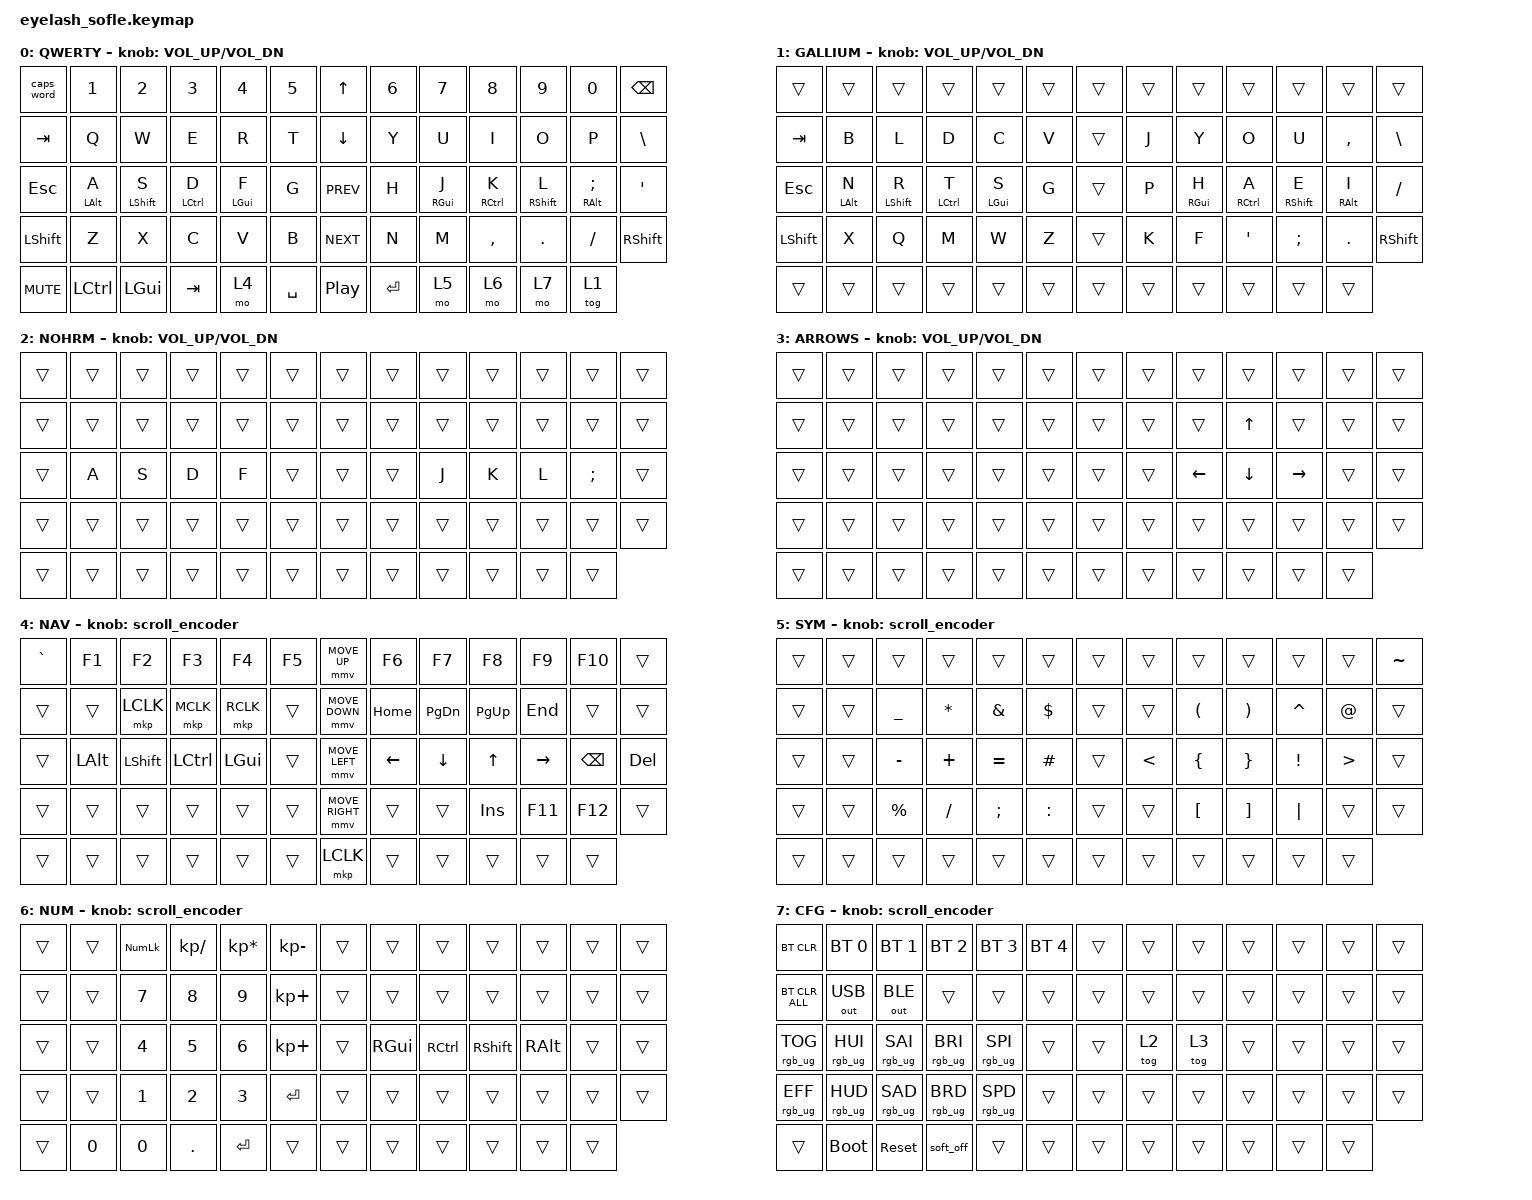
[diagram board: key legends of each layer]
#define ZMK_POINTING_DEFAULT_MOVE_VAL 1200  // 600
#define ZMK_POINTING_DEFAULT_SCRL_VAL 25   // 10

#include <input/processors.dtsi>
#include <zephyr/dt-bindings/input/input-event-codes.h>
#include <behaviors.dtsi>
#include <dt-bindings/zmk/bt.h>
#include <dt-bindings/zmk/ext_power.h>
#include <dt-bindings/zmk/keys.h>
#include <dt-bindings/zmk/pointing.h>
#include <dt-bindings/zmk/rgb.h>
#include <dt-bindings/zmk/outputs.h>

&mmv_input_listener { input-processors = <&zip_xy_scaler 2 1>; };

&msc_input_listener { input-processors = <&zip_scroll_scaler 2 1>; };

&msc {
    acceleration-exponent = <1>;      // 0
    time-to-max-speed-ms = <100>;       // 300
    delay-ms = <0>;                   // 0
};

&mmv {
    time-to-max-speed-ms = <500>;
    acceleration-exponent = <1>;
    trigger-period-ms = <16>;
};

&caps_word {
    continue-list = <UNDERSCORE MINUS>;
};

/ {

    scroll_encoder: scroll_encoder {
        compatible = "zmk,behavior-sensor-rotate";
        #sensor-binding-cells = <0>;
        bindings = <&msc SCRL_DOWN>, <&msc SCRL_UP>;
        tap-ms = <100>;
    };

    behaviors {
        hml: home_row_mod_left {
            compatible = "zmk,behavior-hold-tap";
            #binding-cells = <2>;
            flavor = "balanced";
            require-prior-idle-ms = <150>;
            tapping-term-ms = <280>;
            quick-tap-ms = <175>;
            bindings = <&kp>, <&kp>;
        };
        hmr: home_row_mod_right {
            compatible = "zmk,behavior-hold-tap";
            #binding-cells = <2>;
            flavor = "balanced";
            require-prior-idle-ms = <150>;
            tapping-term-ms = <280>;
            quick-tap-ms = <175>;
            bindings = <&kp>, <&kp>;
        };
    };

    keymap {
        compatible = "zmk,keymap";

        default {
            display-name = "QWERTY";
            bindings = <
&caps_word  &kp N1       &kp N2          &kp N3          &kp N4        &kp N5       &kp UP_ARROW     &kp N6     &kp N7       &kp N8         &kp N9           &kp N0       &kp BACKSPACE
&kp TAB     &kp Q        &kp W           &kp E           &kp R         &kp T        &kp DOWN_ARROW   &kp Y      &kp U        &kp I          &kp O            &kp P        &kp BSLH
&kp ESC     &hml LALT A  &hml LSHFT S    &hml LCTRL D    &hml LGUI F   &kp G        &kp C_PREV       &kp H      &hmr RGUI J  &hmr RCTRL K   &hmr RSHIFT L    &hmr RALT SEMI  &kp APOS
&kp LSHFT   &kp Z        &kp X           &kp C           &kp V         &kp B        &kp C_NEXT       &kp N      &kp M        &kp COMMA      &kp DOT          &kp FSLH     &kp RSHIFT
&kp C_MUTE  &kp LCTRL    &kp LEFT_GUI    &kp TAB         &mo 4         &kp SPACE    &kp C_PLAY_PAUSE &kp ENTER  &mo 5        &mo 6          &mo 7         &tog 1
            >;

            sensor-bindings = <&inc_dec_kp C_VOLUME_UP C_VOL_DN>;
        };

        gallium {
            display-name = "GALLIUM";
            bindings = <
&trans          &trans           &trans          &trans           &trans           &trans           &trans           &trans      &trans      &trans       &trans      &trans      &trans
&kp TAB         &kp B            &kp L           &kp D            &kp C            &kp V            &trans           &kp J       &kp Y       &kp O        &kp U       &kp COMMA   &kp BSLH
&kp ESC         &hml LALT N      &hml LSHFT R    &hml LCTRL T     &hml LGUI S      &kp G            &trans           &kp P       &hmr RGUI H &hmr RCTRL A &hmr RSHIFT E &hmr RALT I &kp FSLH
&kp LSHFT       &kp X            &kp Q           &kp M            &kp W            &kp Z            &trans           &kp K       &kp F       &kp APOS     &kp SEMI    &kp DOT     &kp RSHIFT
&trans          &trans           &trans          &trans           &trans           &trans           &trans           &trans      &trans      &trans       &trans      &trans
            >;

            sensor-bindings = <&inc_dec_kp C_VOLUME_UP C_VOL_DN>;
        };

        nohrm {
            display-name = "NOHRM";
            bindings = <
&trans  &trans  &trans  &trans  &trans  &trans  &trans  &trans  &trans  &trans  &trans  &trans  &trans
&trans  &trans  &trans  &trans  &trans  &trans  &trans  &trans  &trans  &trans  &trans  &trans  &trans
&trans  &kp A   &kp S   &kp D   &kp F   &trans  &trans  &trans  &kp J   &kp K   &kp L   &kp SEMI &trans
&trans  &trans  &trans  &trans  &trans  &trans  &trans  &trans  &trans  &trans  &trans  &trans  &trans
&trans  &trans  &trans  &trans  &trans  &trans  &trans  &trans  &trans  &trans  &trans  &trans
            >;

            sensor-bindings = <&inc_dec_kp C_VOLUME_UP C_VOL_DN>;
        };

        arrows {
            display-name = "ARROWS";
            bindings = <
&trans  &trans  &trans  &trans  &trans  &trans  &trans  &trans  &trans  &trans  &trans  &trans  &trans
&trans  &trans  &trans  &trans  &trans  &trans  &trans  &trans  &trans  &kp UP  &trans   &trans  &trans
&trans  &trans  &trans  &trans  &trans  &trans  &trans  &trans  &kp LEFT  &kp DOWN  &kp RIGHT  &trans  &trans
&trans  &trans  &trans  &trans  &trans  &trans  &trans  &trans  &trans  &trans  &trans  &trans  &trans
&trans  &trans  &trans  &trans  &trans  &trans  &trans  &trans  &trans  &trans  &trans  &trans
            >;

            sensor-bindings = <&inc_dec_kp C_VOLUME_UP C_VOL_DN>;
        };

        navigation {
            display-name = "NAV";
            bindings = <
&kp GRAVE   &kp F1           &kp F2          &kp F3           &kp F4           &kp F5             &mmv MOVE_UP     &kp F6           &kp F7           &kp F8      &kp F9     &kp F10        &trans
&trans      &trans           &mkp LCLK       &mkp MCLK        &mkp RCLK        &trans             &mmv MOVE_DOWN   &kp HOME         &kp PG_DN        &kp PG_UP   &kp END    &trans         &trans
&trans      &kp LALT         &kp LSHFT       &kp LCTRL        &kp LGUI         &trans             &mmv MOVE_LEFT   &kp LEFT         &kp DOWN         &kp UP      &kp RIGHT  &kp BACKSPACE  &kp DEL
&trans      &trans           &trans           &trans           &trans           &trans             &mmv MOVE_RIGHT  &trans           &trans           &kp INSERT  &kp F11    &kp F12        &trans
&trans      &trans           &trans           &trans           &trans           &trans             &mkp LCLK        &trans           &trans           &trans      &trans     &trans
            >;

            sensor-bindings = <&scroll_encoder>;
        };

        symbols {
            display-name = "SYM";
            bindings = <
&trans     &trans          &trans     &trans     &trans    &trans    &trans           &trans    &trans       &trans     &trans      &trans    &kp TILDE
&trans     &trans          &kp UNDERSCORE &kp STAR &kp AMPS &kp DOLLAR &trans     &trans     &kp LPAR     &kp RPAR    &kp CARET &kp AT    &trans
&trans     &trans          &kp MINUS  &kp PLUS   &kp EQUAL &kp HASH  &trans           &kp LT    &kp LBRC     &kp RBRC  &kp EXCL    &kp GT    &trans
&trans     &trans          &kp PERCENT     &kp FSLH   &kp SEMICOLON &kp COLON &trans         &trans    &kp LBKT    &kp RBKT  &kp PIPE    &trans    &trans
&trans     &trans          &trans     &trans     &trans    &trans    &trans           &trans    &trans       &trans     &trans      &trans
            >;

            sensor-bindings = <&scroll_encoder>;
        };

        numbers {
            display-name = "NUM";
            bindings = <
&trans     &trans          &kp KP_NUMLOCK  &kp KP_DIVIDE    &kp KP_MULTIPLY  &kp KP_MINUS  &trans  &trans  &trans  &trans  &trans  &trans  &trans
&trans     &trans          &kp N7          &kp N8           &kp N9          &kp KP_PLUS     &trans  &trans  &trans  &trans  &trans  &trans  &trans
&trans     &trans          &kp N4          &kp N5           &kp N6          &kp KP_PLUS     &trans  &kp RGUI  &kp RCTRL  &kp RSHIFT  &kp RALT  &trans  &trans
&trans     &trans          &kp N1          &kp N2           &kp N3          &kp ENTER     &trans  &trans  &trans  &trans  &trans  &trans  &trans
&trans     &kp N0          &kp N0         &kp DOT          &kp ENTER     &trans  &trans  &trans  &trans  &trans  &trans  &trans
            >;

            sensor-bindings = <&scroll_encoder>;
        };

        config {
            display-name = "CFG";
            bindings = <
&bt BT_CLR      &bt BT_SEL 0     &bt BT_SEL 1     &bt BT_SEL 2     &bt BT_SEL 3     &bt BT_SEL 4     &trans           &trans  &trans  &trans      &trans     &trans       &trans
&bt BT_CLR_ALL  &out OUT_USB     &out OUT_BLE     &trans           &trans           &trans           &trans           &trans  &trans  &trans      &trans     &trans       &trans
&rgb_ug RGB_TOG &rgb_ug RGB_HUI  &rgb_ug RGB_SAI  &rgb_ug RGB_BRI  &rgb_ug RGB_SPI  &trans           &trans           &tog 2    &tog 3     &trans      &trans    &trans       &trans
&rgb_ug RGB_EFF &rgb_ug RGB_HUD  &rgb_ug RGB_SAD  &rgb_ug RGB_BRD  &rgb_ug RGB_SPD  &trans           &trans           &trans  &trans  &trans      &trans     &trans       &trans
&trans          &bootloader      &sys_reset       &soft_off        &trans           &trans           &trans           &trans  &trans  &trans      &trans     &trans
            >;

            sensor-bindings = <&scroll_encoder>;
        };
    };
};
